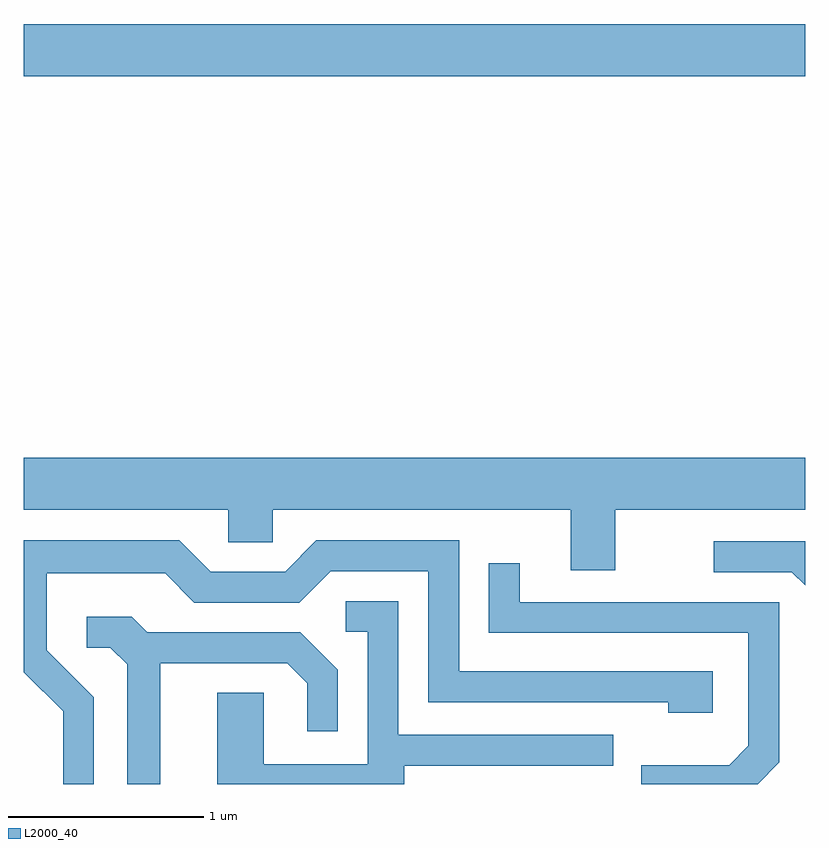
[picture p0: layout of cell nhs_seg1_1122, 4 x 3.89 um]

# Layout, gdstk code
import gdstk
lib = gdstk.Library(unit=1e-6, precision=1e-09)
def R(c, l, rs):  # rectangles x0, y0, x1, y1
    for r in rs: c.add(gdstk.rectangle(r[:2], r[2:], *l))
def P(c, l, *ps):  # polygons
    for p in ps: c.add(gdstk.Polygon(p, *l))
L2000_40 = (2000, 40)

nhs_seg1_1122 = lib.new_cell('nhs_seg1_1122')
R(nhs_seg1_1122, L2000_40, [(219.611,917.336,223.611,917.604)])
P(nhs_seg1_1122, L2000_40, [(222.639,915.116),(223.611,915.116),(223.611,915.384),(219.611,915.384),(219.611,915.116),(220.656,915.116),(220.656,914.951),(220.884,914.951),(220.884,915.116),(222.411,915.116),(222.411,914.806),(222.639,914.806)],
  [(219.969,914.157),(219.729,914.397),(219.729,914.791),(220.334,914.791),(220.484,914.641),(221.022,914.641),(221.182,914.801),(221.681,914.801),(221.681,914.131),(222.911,914.131),(222.911,914.076),(223.139,914.076),(223.139,914.289),(221.839,914.289),(221.839,914.959),(221.109,914.959),(220.949,914.799),(220.567,914.799),(220.407,914.959),(219.611,914.959),(219.611,914.284),(219.811,914.084),(219.811,913.712),(219.969,913.712)],
  [(223.611,914.954),(223.143,914.954),(223.143,914.796),(223.544,914.796),(223.611,914.729)],
  [(223.479,913.824),(223.479,914.644),(222.149,914.644),(222.149,914.843),(221.991,914.843),(221.991,914.486),(223.321,914.486),(223.321,913.907),(223.224,913.809),(222.771,913.809),(222.771,913.712),(223.368,913.712)],
  [(221.559,913.806),(222.628,913.806),(222.628,913.964),(221.529,913.964),(221.529,914.649),(221.258,914.649),(221.258,914.491),(221.371,914.491),(221.371,913.814),(220.839,913.814),(220.839,914.179),(220.601,914.179),(220.601,913.712),(221.559,913.712)],
  [(220.309,914.331),(220.959,914.331),(221.061,914.229),(221.061,913.983),(221.219,913.983),(221.219,914.297),(221.027,914.489),(220.242,914.489),(220.162,914.569),(219.933,914.569),(219.933,914.411),(220.054,914.411),(220.141,914.324),(220.141,913.712),(220.309,913.712)])

lib.write_gds('nhs_seg1_1122.gds')
